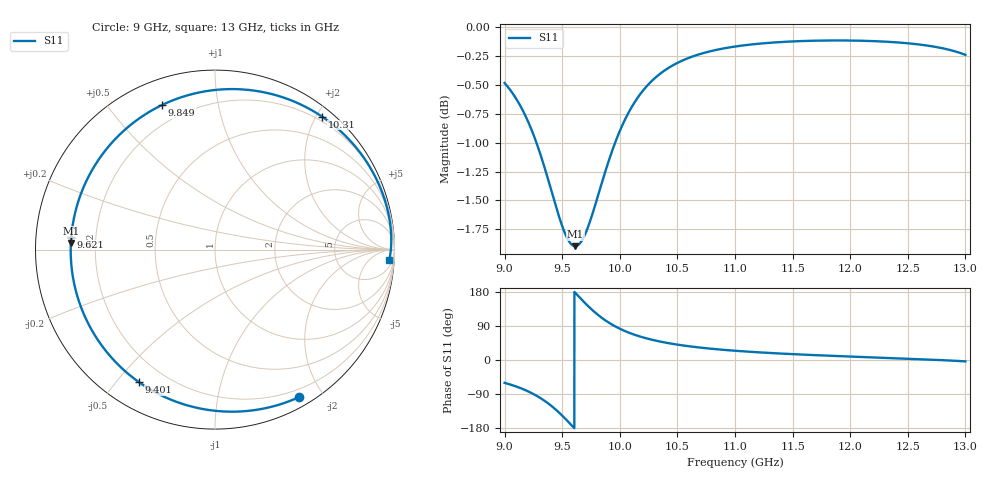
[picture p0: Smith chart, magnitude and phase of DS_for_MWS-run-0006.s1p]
! TOUCHSTONE file generated by CST DESIGN STUDIO
! Date and time: Tue Feb  4 18:24:23 2025
! Project name: C:\Work\MatlabApps\UnitCellOptimizationMatlab\CST\unitcell.cst
! Tree item: Tasks\Sweep1\SPara1\S-Parameters
! Header version: 2024
! Port assignment regex: !\s*Touchstone port\s*([0-9]+)\s*=\s*(CST MWS port|CST DES external port|CST DES block port)\s*(.+)\s* \(\"(.*)\"\)(\s*mode\s*([0-9]+))?.*
! Touchstone port assignment:
! Touchstone port 1 = CST DES external port 1 ("")
# GHz S MA R 50
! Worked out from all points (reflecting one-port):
!   4001 points, 9 GHz to 13 GHz, reference 50 ohm
!   lowest |S11| = -1.9 dB at 9.613 GHz (marker M1), VSWR 9.20, Z = 5.44 + j1.11 ohm
!   phase of S11 starts at -60 deg and turns -303 deg over the sweep
!   S11 on the Smith chart (normalised r, x): 9 GHz: 0.11, -1.71; 9.401 GHz: 0.11, -0.57; 9.621 GHz: 0.11, +0.04; 9.849 GHz: 0.11, +0.69; 10.31 GHz: 0.13, +2.08; 13 GHz: 12, -27
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9  0.9458 -60.4
9.051  0.9389 -64.9
9.122  0.9273 -72.3
9.245  0.8998 -88.9
9.328  0.8755 -103.8
9.401  0.8513 -119.9
9.45  0.835 -132.5
9.5  0.8202 -146.7
9.558  0.8081 -164.7
9.613  0.804 177.4
9.621  0.8041 174.8
9.678  0.8096 156.5
9.741  0.8239 137.5
9.794  0.84 123.2
9.849  0.8579 110.1
9.919  0.8798 95.9
10  0.9017 82.6
10.071  0.9173 73.1
10.145  0.9305 64.9
10.224  0.9416 57.7
10.311  0.9511 51.2
10.5  0.9649 40.6
10.72  0.9742 32.0
11  0.9808 24.4
11.5  0.9858 15.5
12  0.9866 9.1
12.5  0.9839 3.4
13  0.9727 -3.6
